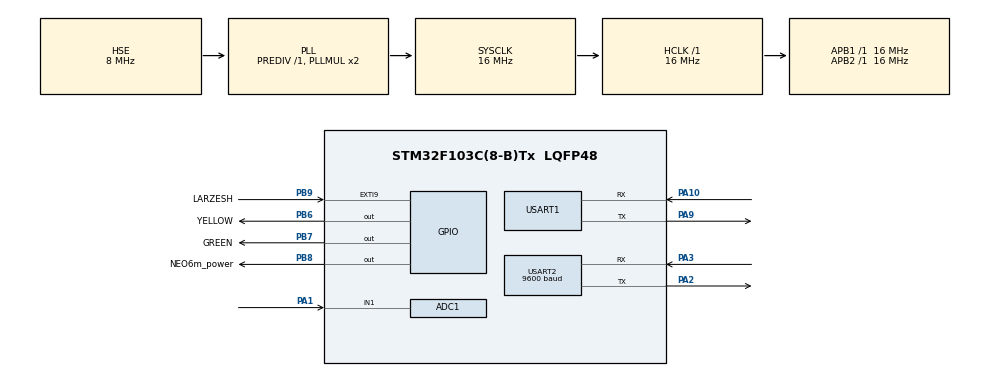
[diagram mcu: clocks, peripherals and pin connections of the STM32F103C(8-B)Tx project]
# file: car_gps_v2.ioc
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ADC1.Channel-0\#ChannelRegularConversion=ADC_CHANNEL_1
ADC1.NbrOfConversionFlag=1
ADC1.Rank-0\#ChannelRegularConversion=1
ADC1.SamplingTime-0\#ChannelRegularConversion=ADC_SAMPLETIME_1CYCLE_5
ADC1.master=1
Mcu.Family=STM32F1
Mcu.Name=STM32F103C(8-B)Tx
Mcu.Package=LQFP48
NVIC.EXTI9_5_IRQn=true\:0\:0\:false\:false\:true\:true\:true
NVIC.PriorityGroup=NVIC_PRIORITYGROUP_4
NVIC.RTC_IRQn=true\:0\:0\:false\:false\:true\:true\:true
NVIC.USART1_IRQn=true\:0\:0\:false\:false\:true\:true\:true
NVIC.USART2_IRQn=true\:0\:0\:false\:false\:true\:true\:true
PA1.Signal=ADCx_IN1
PA10.Mode=Asynchronous
PA10.Signal=USART1_RX
PA13.Mode=Serial_Wire
PA13.Signal=SYS_JTMS-SWDIO
PA14.Mode=Serial_Wire
PA14.Signal=SYS_JTCK-SWCLK
PA2.Mode=Asynchronous
PA2.Signal=USART2_TX
PA3.Mode=Asynchronous
PA3.Signal=USART2_RX
PA9.Mode=Asynchronous
PA9.Signal=USART1_TX
PB6.GPIO_Label=YELLOW
PB6.Signal=GPIO_Output
PB7.GPIO_Label=GREEN
PB7.Signal=GPIO_Output
PB8.GPIO_Label=NEO6m_power
PB8.Signal=GPIO_Output
PB9.GPIO_Label=LARZESH
PB9.GPIO_ModeDefaultEXTI=GPIO_MODE_IT_FALLING
PB9.GPIO_PuPd=GPIO_PULLUP
PB9.Signal=GPXTI9
PC14-OSC32_IN.Mode=LSE-External-Oscillator
PC14-OSC32_IN.Signal=RCC_OSC32_IN
PC15-OSC32_OUT.Mode=LSE-External-Oscillator
PC15-OSC32_OUT.Signal=RCC_OSC32_OUT
PD0-OSC_IN.Mode=HSE-External-Oscillator
PD0-OSC_IN.Signal=RCC_OSC_IN
PD1-OSC_OUT.Mode=HSE-External-Oscillator
PD1-OSC_OUT.Signal=RCC_OSC_OUT
ProjectManager.HeapSize=0x200
ProjectManager.StackSize=0x400
ProjectManager.TargetToolchain=MDK-ARM V5.27
RCC.AHBFreq_Value=16000000
RCC.APB1Freq_Value=16000000
RCC.APB1TimFreq_Value=16000000
RCC.APB2Freq_Value=16000000
RCC.APB2TimFreq_Value=16000000
RCC.HCLKFreq_Value=16000000
RCC.PLLSourceVirtual=RCC_PLLSOURCE_HSE
RCC.SYSCLKFreq_VALUE=16000000
RCC.SYSCLKSource=RCC_SYSCLKSOURCE_PLLCLK
RCC.USBFreq_Value=16000000
RTC.Year=23
SH.ADCx_IN1.0=ADC1_IN1,IN1
USART1.VirtualMode=VM_ASYNC
USART2.BaudRate=9600
USART2.VirtualMode=VM_ASYNC
VP_RTC_VS_RTC_Activate.Mode=RTC_Enabled
VP_RTC_VS_RTC_Calendar.Mode=RTC_Calendar
board=custom

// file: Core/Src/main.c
/* USER CODE BEGIN Header */
/**
  ******************************************************************************
  * @file           : main.c
  * @brief          : Main program body
  ******************************************************************************
  * @attention
  *
  * <h2><center>&copy; Copyright (c) 2023 STMicroelectronics.
  * All rights reserved.</center></h2>
  *
  * This software component is licensed by ST under BSD 3-Clause license,
  * the "License"; You may not use this file except in compliance with the
  * License. You may obtain a copy of the License at:
  *                        opensource.org/licenses/BSD-3-Clause
  *
  ******************************************************************************
  */
/* USER CODE END Header */
#include "main.h"
#include "adc.h"
#include "rtc.h"
#include "usart.h"
#include "gpio.h"

/* USER CODE BEGIN Includes */

#include "stdlib.h"
#include "stdio.h"
#include "GSM_stm32.h"
#include "gps.h"
#include "sleep_functions.h"

/* USER CODE END Includes */

/* USER CODE BEGIN PD */

#define MAIN_BLINK_INTERVAL 2000
#define LARZESH_RTC_INTERVAL 10000
#define GOING_SLEEP_INTERVAL 40000

#define ALARM_HOUR 21
#define ALARM_MINUTE 0
#define ALARM_SECOND 0

#define Vref 3.3
#define ADC_SAMPLE_NUMBER 100

/* USER CODE END PD */

/* USER CODE BEGIN PV */

extern char uart1_rx_buffer[RX_BUFFER_SIZE];
extern char rx_temp;
extern char receive_message[RX_BUFFER_SIZE];
extern char receive_message_number[RECEIVE_NUMBER_SIZE];
extern char receive_message_date[RECEIVE_NUMBER_SIZE];
char number[]="+989378936996";

extern GPS_t GPS;
char map_link[80];
uint32_t send_locatoin_millis = 0;

RTC_TimeTypeDef myTime;
RTC_AlarmTypeDef myAlarm;
uint8_t RTC_Alarm_Flag = 0;
uint8_t inputBuffer[3] = {0};

uint8_t larzesh_flag = 0 ;
uint32_t millis_start_value = 0;

uint16_t adc_value[1000] = {0};
float adc_value_mean = 0;
float Battery_voltage = 0;
uint8_t adc_flag = 0;

uint32_t main_millis = 0;
uint8_t blink_state = SET;

extern uint8_t sleep_mode_flag;
extern uint32_t sleep_mode_millis;

/* USER CODE END PV */

void SystemClock_Config(void);
/* USER CODE BEGIN PFP */

void Set_Alarm(uint8_t h, uint8_t m, uint8_t s);

float check_battery_voltage(void);

void send_location(void);

void send_battery_voltage(void);

void send_larzesh_alarm(void);

void send_RTC_alarm(void);

void RTC_init(void);

/* USER CODE END PFP */

/* USER CODE BEGIN 0 */

void HAL_UART_RxCpltCallback (UART_HandleTypeDef *huart)
{
		if (huart == &huart2)
		{
				GPS_UART_CallBack();
		}
		else if (huart == &huart1)
		{
				get_answer();
		}
}

void HAL_GPIO_EXTI_Callback (uint16_t GPIO_Pin)
{

		if (GPIO_Pin == LARZESH_Pin)
		{
				millis_start_value = HAL_GetTick();
				larzesh_flag = 1;
		}
}

void HAL_RTC_AlarmAEventCallback (RTC_HandleTypeDef *hrtc)
{
		millis_start_value = HAL_GetTick();
		RTC_Alarm_Flag = 1;
}

/* USER CODE END 0 */

int main(void)
{

  /* MCU Configuration--------------------------------------------------------*/

  /* Reset of all peripherals, Initializes the Flash interface and the Systick. */
  HAL_Init();

  /* Configure the system clock */
  SystemClock_Config();

  /* Initialize all configured peripherals */
  MX_GPIO_Init();
  MX_ADC1_Init();
  MX_USART1_UART_Init();
  MX_USART2_UART_Init();
  MX_RTC_Init();
  /* USER CODE BEGIN 2 */

	GSM_wakeup();

	GSM_init();

	RTC_init();

	sleep_mode_init();

  /* USER CODE END 2 */

  /* Infinite loop */
  /* USER CODE BEGIN WHILE */
  while (1)
  {

			if ((HAL_GetTick() - main_millis) > MAIN_BLINK_INTERVAL)
			{
					HAL_GPIO_WritePin(GREEN_GPIO_Port, GREEN_Pin, !blink_state);
					main_millis = HAL_GetTick();
		  }

			if (strstr(uart1_rx_buffer, "+CMTI:") != NULL)
			{

					GSM_read_message();

					if ((strstr(receive_message, "send location") != NULL) && (strstr(receive_message_number, number) != NULL) )
					{
							send_location();
					}

			/*check battery voltage*/

					if ((strstr(receive_message , "battery voltage") != NULL) && (strstr(receive_message_number , number) != NULL) )
					{
							send_battery_voltage();
					}

					clear_all_buffer();

					sleep_mode_init();
		}

		if ((HAL_GetTick() - millis_start_value) > LARZESH_RTC_INTERVAL)
		{
				if (larzesh_flag == 1)
				{
						send_larzesh_alarm();
				}

				if (RTC_Alarm_Flag == 1)
				{
						send_RTC_alarm();
				}
		}

		if ((HAL_GetTick() - sleep_mode_millis) > GOING_SLEEP_INTERVAL)
		{
				if (sleep_mode_flag == 1)
				{
						HAL_GPIO_WritePin(NEO6m_power_GPIO_Port, NEO6m_power_Pin, GPIO_PIN_RESET);
						GSM_go_sleep();
						HAL_Delay(1000);
						go_to_sleepMode();
				}
		}

    /* USER CODE END WHILE */

  }
}

void SystemClock_Config(void)
{
  RCC_OscInitTypeDef RCC_OscInitStruct = {0};
  RCC_ClkInitTypeDef RCC_ClkInitStruct = {0};
  RCC_PeriphCLKInitTypeDef PeriphClkInit = {0};

  /** Initializes the RCC Oscillators according to the specified parameters
  * in the RCC_OscInitTypeDef structure.
  */
  RCC_OscInitStruct.OscillatorType = RCC_OSCILLATORTYPE_LSI|RCC_OSCILLATORTYPE_HSE;
  RCC_OscInitStruct.HSEState = RCC_HSE_ON;
  RCC_OscInitStruct.HSEPredivValue = RCC_HSE_PREDIV_DIV1;
  RCC_OscInitStruct.HSIState = RCC_HSI_ON;
  RCC_OscInitStruct.LSIState = RCC_LSI_ON;
  RCC_OscInitStruct.PLL.PLLState = RCC_PLL_ON;
  RCC_OscInitStruct.PLL.PLLSource = RCC_PLLSOURCE_HSE;
  RCC_OscInitStruct.PLL.PLLMUL = RCC_PLL_MUL2;
  if (HAL_RCC_OscConfig(&RCC_OscInitStruct) != HAL_OK)
  {
    Error_Handler();
  }
  /** Initializes the CPU, AHB and APB buses clocks
  */
  RCC_ClkInitStruct.ClockType = RCC_CLOCKTYPE_HCLK|RCC_CLOCKTYPE_SYSCLK
                              |RCC_CLOCKTYPE_PCLK1|RCC_CLOCKTYPE_PCLK2;
  RCC_ClkInitStruct.SYSCLKSource = RCC_SYSCLKSOURCE_PLLCLK;
  RCC_ClkInitStruct.AHBCLKDivider = RCC_SYSCLK_DIV1;
  RCC_ClkInitStruct.APB1CLKDivider = RCC_HCLK_DIV1;
  RCC_ClkInitStruct.APB2CLKDivider = RCC_HCLK_DIV1;

  if (HAL_RCC_ClockConfig(&RCC_ClkInitStruct, FLASH_LATENCY_0) != HAL_OK)
  {
    Error_Handler();
  }
  PeriphClkInit.PeriphClockSelection = RCC_PERIPHCLK_RTC|RCC_PERIPHCLK_ADC;
  PeriphClkInit.RTCClockSelection = RCC_RTCCLKSOURCE_LSI;
  PeriphClkInit.AdcClockSelection = RCC_ADCPCLK2_DIV2;
  if (HAL_RCCEx_PeriphCLKConfig(&PeriphClkInit) != HAL_OK)
  {
    Error_Handler();
  }
}

/* USER CODE BEGIN 4 */

void Set_Alarm (uint8_t h, uint8_t m, uint8_t s)
{
		myAlarm.AlarmTime.Hours = h;
		myAlarm.AlarmTime.Minutes = m ;
		myAlarm.AlarmTime.Seconds = s ;
		myAlarm.Alarm = RTC_ALARM_A;
		HAL_RTC_SetAlarm_IT(&hrtc, &myAlarm, RTC_FORMAT_BIN);
}

float check_battery_voltage (void)
{
		for (uint16_t i = 0; i < ADC_SAMPLE_NUMBER; i++)
		{
				HAL_ADC_Start(&hadc1);
				HAL_ADC_PollForConversion(&hadc1, 1);
				adc_value[i] = HAL_ADC_GetValue(&hadc1);
				HAL_ADC_Stop(&hadc1);
				HAL_Delay(100);
				adc_value_mean = adc_value_mean + adc_value[i];
		}

		adc_value_mean = (adc_value_mean / (float)ADC_SAMPLE_NUMBER);

		return ((adc_value_mean * Vref) / 4095.0);
}

void send_location (void)
{
		send_locatoin_millis = HAL_GetTick();

		HAL_UART_MspInit(&huart2);

		HAL_GPIO_WritePin(NEO6m_power_GPIO_Port, NEO6m_power_Pin, GPIO_PIN_SET);

		GPS_Init();

	#if DEBUG_MODE
			GSM_sendMessage("map location \r\n" , number);
	#else

		do
		{
				if (GPS.dec_latitude != 0 && GPS.dec_longitude != 0)
				{
						float Battery_voltage = 2 * check_battery_voltage();

						if (Battery_voltage > 3 )
						{
								sprintf(map_link, "http://maps.google.com/maps?q=loc:%f,%f \r\n", GPS.dec_latitude, GPS.dec_longitude);
						}
				}

				if ((HAL_GetTick() - send_locatoin_millis) > GOING_SLEEP_INTERVAL)
				{
					GSM_send_message("error in supply NEO-6m power \r\n", number);

					HAL_NVIC_SystemReset();
				}

		}while (GPS.dec_latitude == 0 && GPS.dec_longitude == 0);

		GSM_send_message(map_link, number);

		HAL_UART_MspDeInit(&huart2);

		#endif

		HAL_GPIO_WritePin(NEO6m_power_GPIO_Port, NEO6m_power_Pin, GPIO_PIN_RESET);
}

void send_battery_voltage (void)
{
		yellow_blink(1000);

		Battery_voltage = 2 * check_battery_voltage();

		char adc_buffer[30];

		sprintf(adc_buffer ,"battery voltage:%0.2f \r\n",Battery_voltage);

		GSM_send_message(adc_buffer, number);
}

void send_larzesh_alarm (void)
{
		larzesh_flag = 0;

		GSM_wakeup();

		GSM_send_message("probable danger,check your car\r\n", number);

		sleep_mode_flag = 1;

		sleep_mode_millis = HAL_GetTick();

		rx_buffer_clear();
}

void send_RTC_alarm (void)
{
		GSM_wakeup();

		RTC_Alarm_Flag = 0;

		Battery_voltage = check_battery_voltage();

		char adc_buffer[30];
		sprintf(adc_buffer, "battery voltage:%f \r\n", Battery_voltage);
		GSM_send_message(adc_buffer, number);

		Set_Alarm(ALARM_HOUR, ALARM_MINUTE, ALARM_SECOND);

		sleep_mode_flag = 1;

		sleep_mode_millis = HAL_GetTick();
}

void RTC_init (void)
{
/*set Alarm setting */
	/*
		Set_Alarm(ALARM_HOUR, ALARM_MINUTE, ALARM_SECOND);

		myTime.Hours = inputBuffer[0];
		myTime.Minutes = inputBuffer[1];
		myTime.Seconds = inputBuffer[2];

		HAL_RTC_SetTime(&hrtc, &myTime, RTC_FORMAT_BIN);
	*/

	/*check reset flag */
	/*
	if(__HAL_RCC_GET_FLAG(RCC_FLAG_IWDGRST) != RESET)
		{
				green_blink(50);
				__HAL_RCC_CLEAR_RESET_FLAGS();
		}
	*/
}

/* USER CODE END 4 */

void Error_Handler(void)
{
  __disable_irq();
  while (1)
  {
  }
}

/************************ (C) COPYRIGHT STMicroelectronics *****END OF FILE****/
